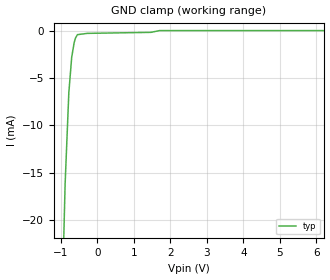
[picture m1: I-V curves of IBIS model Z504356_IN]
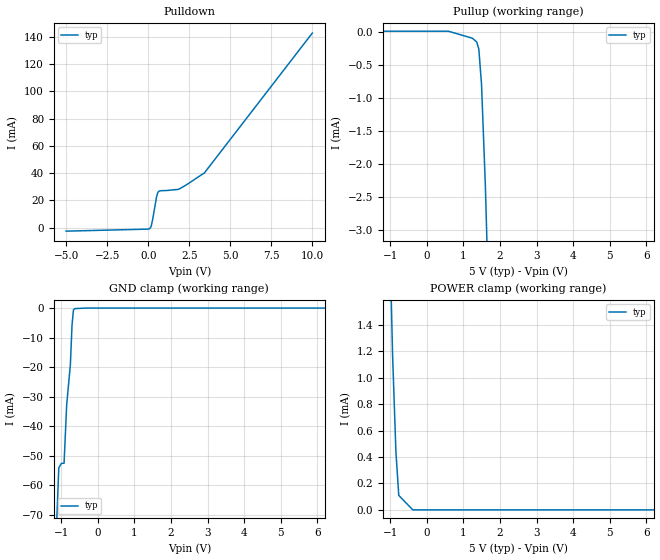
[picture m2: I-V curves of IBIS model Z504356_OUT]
| YOU ARE ONLY AUTHORIZED TO USE THIS SOFTWARE
| ACCORDING TO LICENSOR'S LICENSE RESTRICTIONS.
[IBIS Ver] 3.1
[File Name] sn54ls00j.ibs
[File Rev] 2.0
[Source] Measured and created by ICX Technology
[Date] Friday 7/14/00 9:08:13 AM
[Copyright]
| (C) COPYRIGHT 1993-2000
| MENTOR GRAPHICS CORPORATION
| ICX STANDARD LIBRARY, ICX PROJECT MODELING,
| ICX CUSTOM MODELING, ICX VENDOR MODEL
| ALL RIGHTS RESERVED.
| THE FOLLOWING ARE TRADEMARKS OR SERVICE MARKS OF
| MENTOR GRAPHICS CORPORATION:ICX (R), ICX STANDARD
| LIBRARY(R), ICX PROJECT MODELING(R), ICX CUSTOM
| MODELING(R), qualityIBIS(TM), MODELVIEWER(TM),
| AND MODELEDITOR(TM)
| ALL COPIES OF SOFTWARE, INCLUDING BUT NOT LIMITED TO
| ANY MODIFICATIONS, ENHANCEMENTS OR DERIVATIVE WORKS,
| MUST CONTAIN ALL MENTOR GRAPHICS CORPORATION'S
| NOTICES AND LEGENDS, INCLUDING THOSE EMBEDDED IN
| SOFTWARE AND THOSE AFFIXED TO SOFTWARE MEDIUM
| AND CONTAINER, AS RECEIVED FROM MENTOR GRAPHICS
| CORPORATION.
|  ZAP Model Builder 2.7
[Component] SN54LS00J
[Manufacturer] OnSemiconductor
[Package]
| variable   typ   min   max
R_pkg  .21ohms NA NA
L_pkg  4.543nH NA NA
C_pkg  1.8pF NA NA
[Pin] signal_name  model_name  R_pin  L_pin C_pin
1 1A Z504356_IN .22 6.757n 2.434p
2 1B Z504356_IN .212 4.757n 1.941p
3 1Y Z504356_OUT .204 3.257n 1.448p
4 2A Z504356_IN .196 2.257n .955p
5 2B Z504356_IN .204 3.257n 1.448p
6 2Y Z504356_OUT .212 4.757n 1.941p
7 GND GND .22 6.757n 2.434p
8 3Y Z504356_OUT .22 6.757n 2.434p
9 3A Z504356_IN .212 4.757n 1.941p
10 3B Z504356_IN .204 3.257n 1.448p
11 4Y Z504356_OUT .196 2.257n .955p
12 4A Z504356_IN .204 3.257n 1.448p
13 4B Z504356_IN .212 4.757n 1.941p
14 VCC POWER .22 6.757n 2.434p
| Models and submodels in the file (2): Z504356_IN (Input), Z504356_OUT (Output)
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| (C) COPYRIGHT 1993-2000
| MENTOR GRAPHICS CORPORATION
| ICX STANDARD LIBRARY, ICX PROJECT MODELING,
| ICX CUSTOM MODELING, ICX VENDOR MODEL
| ALL RIGHTS RESERVED.
| THE FOLLOWING ARE TRADEMARKS OR SERVICE MARKS OF
| MENTOR GRAPHICS CORPORATION:ICX (R), ICX STANDARD
| LIBRARY(R), ICX PROJECT MODELING(R), ICX CUSTOM
| MODELING(R), qualityIBIS(TM), MODELVIEWER(TM),
| AND MODELEDITOR(TM)
| ALL COPIES OF SOFTWARE, INCLUDING BUT NOT LIMITED TO
| ANY MODIFICATIONS, ENHANCEMENTS OR DERIVATIVE WORKS,
| MUST CONTAIN ALL MENTOR GRAPHICS CORPORATION'S
| NOTICES AND LEGENDS, INCLUDING THOSE EMBEDDED IN
| SOFTWARE AND THOSE AFFIXED TO SOFTWARE MEDIUM
| AND CONTAINER, AS RECEIVED FROM MENTOR GRAPHICS
| CORPORATION.
| Model Application Version 1.89 2/18/99.
[Model] Z504356_IN
Model_type Input
Vinl = 800.0mV
Vinh = 2.000V
C_comp 4.000pF NA NA
| variable typ   min   max
[Voltage Range] 5.000V NA NA
[GND Clamp Reference] 0.000V NA NA
[POWER Clamp Reference] 5.000V NA NA
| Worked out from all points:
|   GND clamp passes 1 mA (typ) near -0.61 V on its own axis
[GND Clamp]
-5V       -650.4mA   NA         NA
-882.8mV  -16.23mA   NA         NA
-781.2mV  -6.577mA   NA         NA
-702.1mV  -2.812mA   NA         NA
-634.6mV  -1.275mA   NA         NA
-600.6mV  -817.6uA   NA         NA
-546.5mV  -437.4uA   NA         NA
-273.3mV  -300.7uA   NA         NA
1.467V    -194.1uA   NA         NA
1.704V    -6.819uA   NA         NA
10V       -6.819uA   NA         NA
[POWER Clamp]
-5V       0A         NA         NA
10V       0A         NA         NA
| (C) COPYRIGHT 1993-2000
| MENTOR GRAPHICS CORPORATION
| ICX STANDARD LIBRARY, ICX PROJECT MODELING,
| ICX CUSTOM MODELING, ICX VENDOR MODEL
| ALL RIGHTS RESERVED.
| THE FOLLOWING ARE TRADEMARKS OR SERVICE MARKS OF
| MENTOR GRAPHICS CORPORATION:ICX (R), ICX STANDARD
| LIBRARY(R), ICX PROJECT MODELING(R), ICX CUSTOM
| MODELING(R), qualityIBIS(TM), MODELVIEWER(TM),
| AND MODELEDITOR(TM)
| ALL COPIES OF SOFTWARE, INCLUDING BUT NOT LIMITED TO
| ANY MODIFICATIONS, ENHANCEMENTS OR DERIVATIVE WORKS,
| MUST CONTAIN ALL MENTOR GRAPHICS CORPORATION'S
| NOTICES AND LEGENDS, INCLUDING THOSE EMBEDDED IN
| SOFTWARE AND THOSE AFFIXED TO SOFTWARE MEDIUM
| AND CONTAINER, AS RECEIVED FROM MENTOR GRAPHICS
| CORPORATION.
| Model Application Version 1.89 2/18/99.
[Model] Z504356_OUT
Model_type Output
Vref=5.000V
Rref=2.000kohms
Cref=15.00pF
Vmeas=1.300V
C_comp 8.000pF NA NA
| variable typ   min   max
[Voltage Range] 5.000V NA NA
[POWER Clamp Reference] 5.000V NA NA
[Pullup Reference] 5.000V NA NA
[Pulldown Reference] 0.000V NA NA
[GND Clamp Reference] 0.000V NA NA
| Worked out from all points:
|   slope of the pulldown table from 0 to 0.75 V, typ, clamps not added: 26.7 ohm
|   slope of the pullup table from 0 to 0.75 V, typ, clamps not added: 28.3 kohm
|   GND clamp passes 1 mA (typ) near -0.67 V on its own axis
|   POWER clamp passes 1 mA (typ) near -0.91 V on its own axis
[GND Clamp]
-5V       -1.314A    NA         NA
-1.064V   -54.12mA   NA         NA
-990.2mV  -52.6mA    NA         NA
-919.9mV  -52.6mA    NA         NA
-849.6mV  -32.97mA   NA         NA
-747.1mV  -19.02mA   NA         NA
-702.9mV  -5.839mA   NA         NA
-664.1mV  -608.7uA   NA         NA
-625mV    -172.3uA   NA         NA
-312.5mV  0A         NA         NA
10V       0A         NA         NA
[Pulldown]
-5V       -2.497mA   NA         NA
87.89mV   -646.5uA   NA         NA
151.6mV   218.9uA    NA         NA
189.2mV   1.463mA    NA         NA
263.4mV   5.517mA    NA         NA
502.9mV   22.24mA    NA         NA
562.2mV   25mA       NA         NA
600.5mV   26.06mA    NA         NA
741.5mV   27.12mA    NA         NA
1.854V    28.18mA    NA         NA
3.413V    40.06mA    NA         NA
10V       142.8mA    NA         NA
[Pullup]
-5V       7.714uA    NA         NA
586mV     7.714uA    NA         NA
1.241V    -98.18uA   NA         NA
1.362V    -154.3uA   NA         NA
1.421V    -263.6uA   NA         NA
1.494V    -792.5uA   NA         NA
1.6V      -2.344mA   NA         NA
10V       -168.8mA   NA         NA
[POWER Clamp]
-5V       56.42mA    NA         NA
-1.045V   2.439mA    NA         NA
-936mV    1.175mA    NA         NA
-845mV    440.1uA    NA         NA
-767mV    109.4uA    NA         NA
-383.5mV  0A         NA         NA
10V       0A         NA         NA
[Ramp]
| variable typ min max
dV/dt_r 1.847/5.137n NA NA
dV/dt_f 1.847/3.195n NA NA
R_load = 500.0Ohms
